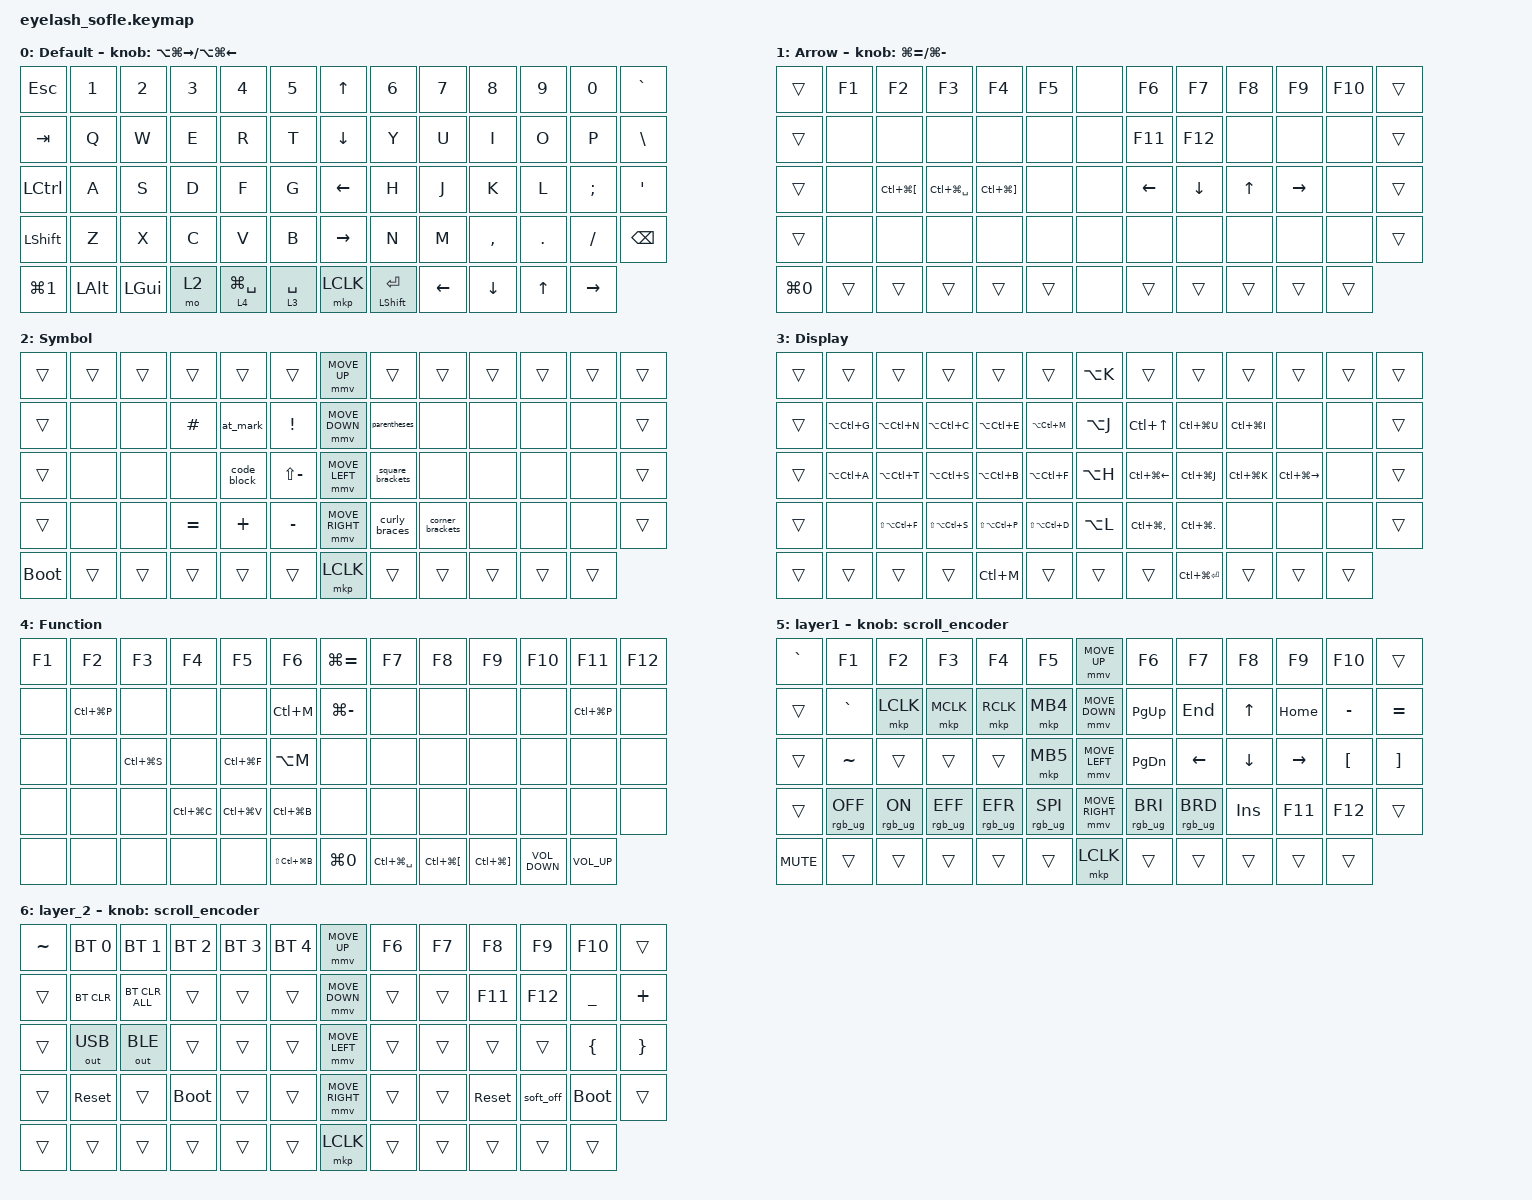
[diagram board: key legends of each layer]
#define ZMK_POINTING_DEFAULT_MOVE_VAL 1200  // 600
#define ZMK_POINTING_DEFAULT_SCRL_VAL 25   // 10

#include <input/processors.dtsi>
#include <zephyr/dt-bindings/input/input-event-codes.h>
#include <behaviors.dtsi>
#include <dt-bindings/zmk/bt.h>
#include <dt-bindings/zmk/keys.h>
#include <dt-bindings/zmk/outputs.h>
#include <dt-bindings/zmk/pointing.h>
#include <dt-bindings/zmk/rgb.h>

&mmv_input_listener { input-processors = <&zip_xy_scaler 2 1>; };

&msc_input_listener { input-processors = <&zip_scroll_scaler 2 1>; };

&msc {
    acceleration-exponent = <1>;      // 0
    time-to-max-speed-ms = <100>;       // 300
    delay-ms = <0>;                   // 0
};

&mmv {
    time-to-max-speed-ms = <500>;
    acceleration-exponent = <1>;
    trigger-period-ms = <16>;
};

/ {
    scroll_encoder: scroll_encoder {
        compatible = "zmk,behavior-sensor-rotate";
        #sensor-binding-cells = <0>;
        bindings = <&msc SCRL_DOWN>, <&msc SCRL_UP>;

        tap-ms = <100>;
    };

    behaviors {
    };

    macros {
        code_block: code_block {
            compatible = "zmk,behavior-macro";
            #binding-cells = <0>;
            bindings = <&kp LANGUAGE_2 &kp GRAVE &kp GRAVE &kp GRAVE>;
            label = "CODE_BLOCK";
        };

        parentheses: parentheses {
            compatible = "zmk,behavior-macro";
            #binding-cells = <0>;
            bindings = <&kp LANGUAGE_2 &kp LPAR &kp RPAR &kp LEFT_ARROW>;
            label = "PARENTHESES";
        };

        square_brackets: square_brackets {
            compatible = "zmk,behavior-macro";
            #binding-cells = <0>;
            bindings = <&kp LANGUAGE_2 &kp LEFT_BRACKET &kp RIGHT_BRACKET &kp LEFT_ARROW>;
            label = "SQUARE_BRACKETS";
        };

        curly_braces: curly_braces {
            compatible = "zmk,behavior-macro";
            #binding-cells = <0>;
            bindings = <&kp LANGUAGE_2 &kp LS(LEFT_BRACE) &kp LS(RIGHT_BRACKET) &kp LEFT_ARROW>;
            label = "CURLY_BRACES";
        };

        at_mark: at_mark {
            compatible = "zmk,behavior-macro";
            #binding-cells = <0>;
            bindings = <&kp LANGUAGE_2 &kp AT_SIGN>;
            label = "AT_MARK";
        };

        corner_brackets: corner_brackets {
            compatible = "zmk,behavior-macro";
            #binding-cells = <0>;
            bindings = <&kp LANGUAGE_1 &kp LEFT_BRACKET &kp RIGHT_BRACKET &kp ENTER &kp LEFT_ARROW>;
            label = "CORNER_BRACKETS";
        };
    };

    combos {
        compatible = "zmk,combos";

        ime {
            bindings = <&kp LC(SPACE)>;
            key-positions = <34 35>;
        };
    };

    keymap {
        compatible = "zmk,keymap";

        layer0 {
            bindings = <
&kp ESC           &kp N1        &kp N2        &kp N3  &kp N4           &kp N5         &kp UP_ARROW     &kp N6                &kp N7          &kp N8          &kp N9        &kp N0           &kp GRAVE
&kp TAB           &kp Q         &kp W         &kp E   &kp R            &kp T          &kp DOWN_ARROW   &kp Y                 &kp U           &kp I           &kp O         &kp P            &kp BSLH
&kp LEFT_CONTROL  &kp A         &kp S         &kp D   &kp F            &kp G          &kp LEFT_ARROW   &kp H                 &kp J           &kp K           &kp L         &kp SEMI         &kp APOS
&kp LSHFT         &kp Z         &kp X         &kp C   &kp V            &kp B          &kp RIGHT_ARROW  &kp N                 &kp M           &kp COMMA       &kp DOT       &kp FSLH         &kp BACKSPACE
&kp LG(NUMBER_1)  &kp LEFT_ALT  &kp LEFT_GUI  &mo 2   &lt 4 LG(SPACE)  &lt 3 SPACE    &mkp LCLK        &mt LEFT_SHIFT ENTER  &kp LEFT_ARROW  &kp DOWN_ARROW  &kp UP_ARROW  &kp RIGHT_ARROW
            >;

            sensor-bindings = <&inc_dec_kp LA(LG(RIGHT_ARROW)) LA(LG(LEFT_ARROW))>;
            display-name = "Default";
        };

        Arrow {
            bindings = <
&trans            &kp F1  &kp F2                    &kp F3             &kp F4                     &kp F5    &none  &kp F6          &kp F7          &kp F8        &kp F9           &kp F10  &trans
&trans            &none   &none                     &none              &none                      &none     &none  &kp F11         &kp F12         &none         &none            &none    &trans
&trans            &none   &kp LC(LG(LEFT_BRACKET))  &kp LC(LG(SPACE))  &kp LC(LG(RIGHT_BRACKET))  &none     &none  &kp LEFT_ARROW  &kp DOWN_ARROW  &kp UP_ARROW  &kp RIGHT_ARROW  &none    &trans
&trans            &none   &none                     &none              &none                      &none     &none  &none           &none           &none         &none            &none    &trans
&kp LG(NUMBER_0)  &trans  &trans                    &trans             &trans                     &trans    &none  &trans          &trans          &trans        &trans           &trans
            >;

            sensor-bindings = <&inc_dec_kp LG(EQUAL) LG(MINUS)>;
        };

        Symbol {
            bindings = <
&trans       &trans  &trans  &trans     &trans       &trans             &mmv MOVE_UP     &trans            &trans            &trans  &trans  &trans  &trans
&trans       &none   &none   &kp HASH   &at_mark     &kp EXCLAMATION    &mmv MOVE_DOWN   &parentheses      &none             &none   &none   &none   &trans
&trans       &none   &none   &none      &code_block  &kp LS(MINUS)      &mmv MOVE_LEFT   &square_brackets  &none             &none   &none   &none   &trans
&trans       &none   &none   &kp EQUAL  &kp PLUS     &kp MINUS          &mmv MOVE_RIGHT  &curly_braces     &corner_brackets  &none   &none   &none   &trans
&bootloader  &trans  &trans  &trans     &trans       &trans             &mkp LCLK        &trans            &trans            &trans  &trans  &trans
            >;
        };

        Display {
            bindings = <
&trans  &trans         &trans             &trans             &trans             &trans               &kp LA(K)  &trans                  &trans              &trans         &trans                   &trans  &trans
&trans  &kp LA(LC(G))  &kp LA(LC(N))      &kp LA(LC(C))      &kp LA(LC(E))      &kp LA(LC(M))        &kp LA(J)  &kp LC(UP_ARROW)        &kp LC(LG(U))       &kp LC(LG(I))  &none                    &none   &trans
&trans  &kp LA(LC(A))  &kp LA(LC(T))      &kp LA(LC(S))      &kp LA(LC(B))      &kp LA(LC(F))        &kp LA(H)  &kp LC(LG(LEFT_ARROW))  &kp LC(LG(J))       &kp LC(LG(K))  &kp LC(LG(RIGHT_ARROW))  &none   &trans
&trans  &none          &kp LS(LA(LC(F)))  &kp LS(LA(LC(S)))  &kp LS(LA(LC(P)))  &kp LS(LA(LC(D)))    &kp LA(L)  &kp LC(LG(COMMA))       &kp LC(LG(PERIOD))  &none          &none                    &none   &trans
&trans  &trans         &trans             &trans             &kp LC(M)          &trans               &trans     &trans                  &kp LC(LG(ENTER))   &trans         &trans                   &trans
            >;
        };

        Function {
            bindings = <
&kp F1  &kp F2         &kp F3         &kp F4         &kp F5         &kp F6               &kp LG(EQUAL)     &kp F7             &kp F8                    &kp F9                     &kp F10            &kp F11          &kp F12
&none   &kp LC(LG(P))  &none          &none          &none          &kp LC(M)            &kp LG(MINUS)     &none              &none                     &none                      &none              &kp LC(LG(P))    &none
&none   &none          &kp LC(LG(S))  &none          &kp LC(LG(F))  &kp LA(M)            &none             &none              &none                     &none                      &none              &none            &none
&none   &none          &none          &kp LC(LG(C))  &kp LC(LG(V))  &kp LC(LG(B))        &none             &none              &none                     &none                      &none              &none            &none
&none   &none          &none          &none          &none          &kp LS(LC(LG(B)))    &kp LG(NUMBER_0)  &kp LC(LG(SPACE))  &kp LC(LG(LEFT_BRACKET))  &kp LC(LG(RIGHT_BRACKET))  &kp C_VOLUME_DOWN  &kp C_VOLUME_UP
            >;
        };

        layer_1 {
            bindings = <
&kp GRAVE   &kp F1           &kp F2          &kp F3           &kp F4           &kp F5             &mmv MOVE_UP     &kp F6           &kp F7           &kp F8      &kp F9     &kp F10           &trans
&trans      &kp GRAVE        &mkp LCLK       &mkp MCLK        &mkp RCLK        &mkp MB4           &mmv MOVE_DOWN   &kp PG_UP        &kp END          &kp UP      &kp HOME   &kp MINUS         &kp EQUAL
&trans      &kp TILDE        &trans          &trans           &trans           &mkp MB5           &mmv MOVE_LEFT   &kp PG_DN        &kp LEFT         &kp DOWN    &kp RIGHT  &kp LEFT_BRACKET  &kp RIGHT_BRACKET
&trans      &rgb_ug RGB_OFF  &rgb_ug RGB_ON  &rgb_ug RGB_EFF  &rgb_ug RGB_EFR  &rgb_ug RGB_SPI    &mmv MOVE_RIGHT  &rgb_ug RGB_BRI  &rgb_ug RGB_BRD  &kp INSERT  &kp F11    &kp F12           &trans
&kp C_MUTE  &trans           &trans          &trans           &trans           &trans             &mkp LCLK        &trans           &trans           &trans      &trans     &trans
            >;

            display-name = "layer1";
            sensor-bindings = <&scroll_encoder>;
        };

        layer_2 {
            bindings = <
&kp TILDE  &bt BT_SEL 0  &bt BT_SEL 1    &bt BT_SEL 2  &bt BT_SEL 3  &bt BT_SEL 4    &mmv MOVE_UP     &kp F6  &kp F7  &kp F8      &kp F9     &kp F10      &trans
&trans     &bt BT_CLR    &bt BT_CLR_ALL  &trans        &trans        &trans          &mmv MOVE_DOWN   &trans  &trans  &kp F11     &kp F12    &kp UNDER    &kp PLUS
&trans     &out OUT_USB  &out OUT_BLE    &trans        &trans        &trans          &mmv MOVE_LEFT   &trans  &trans  &trans      &trans     &kp LBRC     &kp RBRC
&trans     &sys_reset    &trans          &bootloader   &trans        &trans          &mmv MOVE_RIGHT  &trans  &trans  &sys_reset  &soft_off  &bootloader  &trans
&trans     &trans        &trans          &trans        &trans        &trans          &mkp LCLK        &trans  &trans  &trans      &trans     &trans
            >;

            sensor-bindings = <&scroll_encoder>;
        };
    };
};
